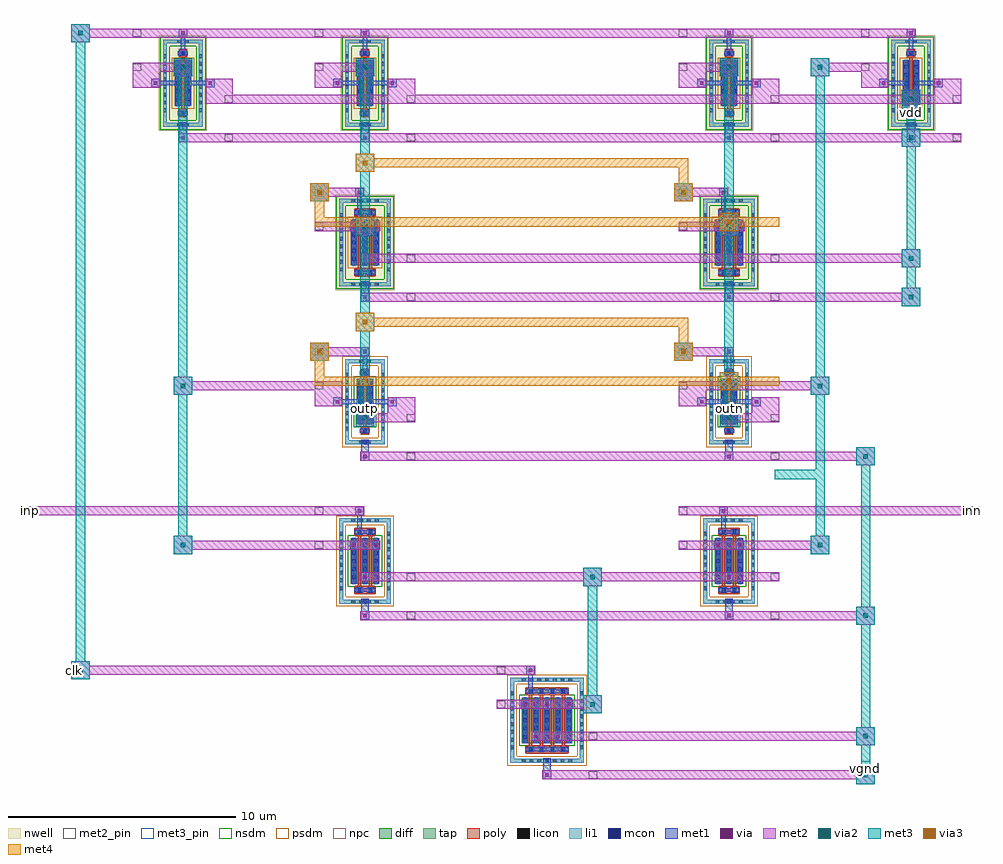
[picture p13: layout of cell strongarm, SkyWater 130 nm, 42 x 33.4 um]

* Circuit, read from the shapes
.subckt strongarm clk inn inp outn outp vdd vgnd
XM1 dsm_strongarm_ntail4_9/D inp dsm_strongarm_nin2_10/D vgnd sky130_fd_pr__nfet_01v8 w=2 l=0.15 m=2
XM2 outp outn dsm_strongarm_nin2_10/D vgnd sky130_fd_pr__nfet_01v8 w=2 l=0.15
XM3 vgnd clk dsm_strongarm_ntail4_9/D vgnd sky130_fd_pr__nfet_01v8 w=2 l=0.15 m=4
XM4 dsm_strongarm_ntail4_9/D inn dsm_strongarm_nin2_8/D vgnd sky130_fd_pr__nfet_01v8 w=2 l=0.15 m=2
XM5 outn outp dsm_strongarm_nin2_8/D vgnd sky130_fd_pr__nfet_01v8 w=2 l=0.15
XM6 vdd clk dsm_strongarm_nin2_10/D vdd sky130_fd_pr__pfet_01v8 w=2 l=0.15
XM7 vdd outn outp vdd sky130_fd_pr__pfet_01v8 w=2 l=0.15 m=2
XM8 vdd clk outp vdd sky130_fd_pr__pfet_01v8 w=2 l=0.15
XM9 vdd outp outn vdd sky130_fd_pr__pfet_01v8 w=2 l=0.15 m=2
XM10 vdd clk outn vdd sky130_fd_pr__pfet_01v8 w=2 l=0.15
XM11 vdd clk dsm_strongarm_nin2_8/D vdd sky130_fd_pr__pfet_01v8 w=2 l=0.15
.ends

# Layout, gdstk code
import gdstk
lib = gdstk.Library(unit=1e-6, precision=1e-09)
def R(c, l, rs):  # rectangles x0, y0, x1, y1
    for r in rs: c.add(gdstk.rectangle(r[:2], r[2:], *l))
def A(c, l, x, y, w, h, nx, ny, dx, dy):  # array of equal rectangles
    R(c, l, [(x+i*dx, y+j*dy, x+i*dx+w, y+j*dy+h) for i in range(nx) for j in range(ny)])
nwell = (64, 20)
diff = (65, 20)
tap = (65, 44)
poly = (66, 20)
licon = (66, 44)
li1 = (67, 20)
mcon = (67, 44)
met1 = (68, 20)
via = (68, 44)
met2_pin = (69, 16)
met2 = (69, 20)
via2 = (69, 44)
met3_pin = (70, 16)
met3 = (70, 20)
via3 = (70, 44)
met4 = (71, 20)
nsdm = (93, 44)
psdm = (94, 20)
npc = (95, 20)

dsm_strongarm_ppre1 = lib.new_cell('dsm_strongarm_ppre1')
R(dsm_strongarm_ppre1, nwell, [(-1.055,-2.095,1.055,2.095)])
R(dsm_strongarm_ppre1, diff, [(-0.365,-1,0.365,1)])
R(dsm_strongarm_ppre1, tap, [(-0.875,-1.915,0.875,-1.745), (-0.875,-1.745,-0.705,1.745), (0.705,-1.745,0.875,1.745), (-0.875,1.745,0.875,1.915)])
R(dsm_strongarm_ppre1, poly, [(-0.165,-1.485,0.165,-1.155), (-0.075,-1.155,0.075,1.155), (-0.165,1.155,0.165,1.485)])
A(dsm_strongarm_ppre1, licon, -0.875, -1.275, 0.17, 0.17, 1, 8, 0, 0.34)
A(dsm_strongarm_ppre1, licon, 0.705, -1.275, 0.17, 0.17, 1, 8, 0, 0.34)
A(dsm_strongarm_ppre1, licon, -0.305, -0.935, 0.17, 0.17, 1, 6, 0, 0.34)
A(dsm_strongarm_ppre1, licon, 0.135, -0.935, 0.17, 0.17, 1, 6, 0, 0.34)
R(dsm_strongarm_ppre1, licon, [(-0.255,-1.915,-0.085,-1.745), (0.085,-1.915,0.255,-1.745), (-0.085,-1.405,0.085,-1.235), (-0.085,1.235,0.085,1.405), (-0.255,1.745,-0.085,1.915), (0.085,1.745,0.255,1.915)])
R(dsm_strongarm_ppre1, li1, [(-0.875,-1.915,0.875,-1.745), (-0.875,-1.745,-0.705,1.745), (0.705,-1.745,0.875,1.745), (-0.22,-1.405,0.22,-1.235), (-0.305,-1.02,-0.135,1.02), (0.135,-1.02,0.305,1.02), (-0.22,1.235,0.22,1.405), (-0.875,1.745,0.875,1.915)])
A(dsm_strongarm_ppre1, mcon, -0.305, -0.805, 0.17, 0.17, 1, 5, 0, 0.36)
A(dsm_strongarm_ppre1, mcon, 0.135, -0.805, 0.17, 0.17, 1, 5, 0, 0.36)
R(dsm_strongarm_ppre1, mcon, [(-0.085,-1.915,0.085,-1.745), (-0.085,-1.405,0.085,-1.235), (-0.085,1.235,0.085,1.405)])
R(dsm_strongarm_ppre1, met1, [(-0.19,-2.59,0.19,-2.21), (-0.16,-2.21,0.16,-1.71), (-0.145,-1.435,0.145,-1.405), (-0.22,-1.405,0.22,-1.235), (-0.145,-1.235,0.145,-1.205), (-0.335,-1,-0.105,-0.1), (0.105,-1,0.335,-0.1), (-1.39,-0.19,-1.01,-0.1), (1.01,-0.19,1.39,-0.1), (-1.39,-0.1,-0.105,0.1), (0.105,-0.1,1.39,0.1), (-1.39,0.1,-1.01,0.19), (-0.335,0.1,-0.105,1), (0.105,0.1,0.335,1), (1.01,0.1,1.39,0.19), (-0.145,1.205,0.145,1.235), (-0.22,1.235,0.22,1.405), (-0.145,1.405,0.145,1.435), (-0.1,1.435,0.1,2.01), (-0.19,2.01,0.19,2.39)])
R(dsm_strongarm_ppre1, via, [(-0.075,-2.475,0.075,-2.325), (-1.275,-0.075,-1.125,0.075), (1.125,-0.075,1.275,0.075), (-0.075,2.125,0.075,2.275)])
R(dsm_strongarm_ppre1, met2_pin, [(1.84,-2.56,2.2,-2.24), (1.84,-0.86,2.2,-0.54), (-2.2,0.54,-1.84,0.86), (-2.2,2.04,-1.84,2.36)])
R(dsm_strongarm_ppre1, met2, [(-0.2,-2.6,2.2,-2.2), (1,-0.9,2.2,0.2), (-2.2,-0.2,-1,0.9), (-2.2,2,0.2,2.4)])
R(dsm_strongarm_ppre1, nsdm, [(-1,-2.04,1,-1.62), (-1,-1.62,-0.58,1.62), (0.58,-1.62,1,1.62), (-1,1.62,1,2.04)])
R(dsm_strongarm_ppre1, psdm, [(-0.49,-1.125,0.49,1.125)])
R(dsm_strongarm_ppre1, npc, [(-0.185,-1.505,0.185,-1.135), (-0.185,1.135,0.185,1.505)])
dsm_strongarm_ppre1.add(gdstk.Label('G', (0,1.32), layer=67, texttype=5))
dsm_strongarm_ppre1.add(gdstk.Label('S', (0.22,0), layer=67, texttype=5))
dsm_strongarm_ppre1.add(gdstk.Label('D', (-0.22,0), layer=67, texttype=5))
dsm_strongarm_ppre1.add(gdstk.Label('B', (0,-1.83), layer=67, texttype=5))
dsm_strongarm_ppre1.add(gdstk.Label('B', (2.02,-2.4), layer=69, texttype=5))
dsm_strongarm_ppre1.add(gdstk.Label('G', (-2.02,2.2), layer=69, texttype=5))
dsm_strongarm_ppre1.add(gdstk.Label('S', (2.02,-0.7), layer=69, texttype=5))
dsm_strongarm_ppre1.add(gdstk.Label('D', (-2.02,0.7), layer=69, texttype=5))

dsm_strongarm_pin2 = lib.new_cell('dsm_strongarm_pin2')
R(dsm_strongarm_pin2, nwell, [(-1.315,-2.095,1.315,2.095)])
R(dsm_strongarm_pin2, diff, [(-0.625,-1,0.625,1)])
R(dsm_strongarm_pin2, tap, [(-1.135,-1.915,1.135,-1.745), (-1.135,-1.745,-0.965,1.745), (0.965,-1.745,1.135,1.745), (-1.135,1.745,1.135,1.915)])
R(dsm_strongarm_pin2, poly, [(-0.48,-1.485,0.48,-1.155), (-0.315,-1.155,-0.165,1.155), (0.165,-1.155,0.315,1.155), (-0.48,1.155,0.48,1.485)])
A(dsm_strongarm_pin2, licon, -0.595, -1.915, 0.17, 0.17, 4, 2, 0.34, 3.66)
A(dsm_strongarm_pin2, licon, -1.135, -1.275, 0.17, 0.17, 1, 8, 0, 0.34)
A(dsm_strongarm_pin2, licon, 0.965, -1.275, 0.17, 0.17, 1, 8, 0, 0.34)
A(dsm_strongarm_pin2, licon, -0.565, -0.935, 0.17, 0.17, 3, 6, 0.48, 0.34)
R(dsm_strongarm_pin2, licon, [(-0.325,-1.405,-0.155,-1.235), (0.155,-1.405,0.325,-1.235), (-0.325,1.235,-0.155,1.405), (0.155,1.235,0.325,1.405)])
A(dsm_strongarm_pin2, li1, -0.565, -1.02, 0.17, 2.04, 3, 1, 0.48, 0)
R(dsm_strongarm_pin2, li1, [(-1.135,-1.915,1.135,-1.745), (-1.135,-1.745,-0.965,1.745), (0.965,-1.745,1.135,1.745), (-0.48,-1.405,0.48,-1.235), (-0.48,1.235,0.48,1.405), (-1.135,1.745,1.135,1.915)])
A(dsm_strongarm_pin2, mcon, -0.565, -0.805, 0.17, 0.17, 3, 5, 0.48, 0.36)
R(dsm_strongarm_pin2, mcon, [(-0.085,-1.915,0.085,-1.745), (-0.325,-1.405,-0.155,-1.235), (0.155,-1.405,0.325,-1.235), (-0.325,1.235,-0.155,1.405), (0.155,1.235,0.325,1.405)])
R(dsm_strongarm_pin2, met1, [(-0.19,-2.59,0.19,-2.21), (-0.16,-2.21,0.16,-1.71), (-0.385,-1.435,-0.095,-1.405), (0.095,-1.435,0.385,-1.405), (-0.48,-1.405,0.48,-1.235), (-0.385,-1.235,-0.095,-1.205), (0.095,-1.235,0.385,-1.205), (-0.595,-1,-0.365,0.51), (-0.115,-1,0.115,-0.89), (0.365,-1,0.595,0.51), (-0.19,-0.89,0.19,-0.51), (-0.115,-0.51,0.115,1), (-0.67,0.51,-0.29,0.89), (0.29,0.51,0.67,0.89), (-0.595,0.89,-0.365,1), (0.365,0.89,0.595,1), (-0.385,1.205,-0.095,1.235), (0.095,1.205,0.385,1.235), (-0.48,1.235,0.48,1.405), (-0.385,1.405,-0.095,1.435), (0.095,1.405,0.385,1.435), (-0.34,1.435,-0.14,2.01), (-0.43,2.01,-0.05,2.39)])
R(dsm_strongarm_pin2, via, [(-0.075,-2.475,0.075,-2.325), (-0.075,-0.775,0.075,-0.625), (-0.555,0.625,-0.405,0.775), (0.405,0.625,0.555,0.775), (-0.315,2.125,-0.165,2.275)])
R(dsm_strongarm_pin2, met2_pin, [(1.84,-2.56,2.2,-2.24), (1.84,-0.86,2.2,-0.54), (-2.2,0.54,-1.84,0.86), (-2.2,2.04,-1.84,2.36)])
R(dsm_strongarm_pin2, met2, [(-0.2,-2.6,2.2,-2.2), (-0.2,-0.9,2.2,-0.5), (-2.2,0.5,0.68,0.9), (-2.2,2,-0.04,2.4)])
R(dsm_strongarm_pin2, nsdm, [(-1.26,-2.04,1.26,-1.62), (-1.26,-1.62,-0.84,1.62), (0.84,-1.62,1.26,1.62), (-1.26,1.62,1.26,2.04)])
R(dsm_strongarm_pin2, psdm, [(-0.75,-1.125,0.75,1.125)])
R(dsm_strongarm_pin2, npc, [(-0.425,-1.505,0.425,-1.135), (-0.425,1.135,0.425,1.505)])
dsm_strongarm_pin2.add(gdstk.Label('S1', (0,0), layer=67, texttype=5))
dsm_strongarm_pin2.add(gdstk.Label('G', (-0.24,1.32), layer=67, texttype=5))
dsm_strongarm_pin2.add(gdstk.Label('G', (0.24,1.32), layer=67, texttype=5))
dsm_strongarm_pin2.add(gdstk.Label('D0', (-0.48,0), layer=67, texttype=5))
dsm_strongarm_pin2.add(gdstk.Label('B', (0,-1.83), layer=67, texttype=5))
dsm_strongarm_pin2.add(gdstk.Label('B', (2.02,-2.4), layer=69, texttype=5))
dsm_strongarm_pin2.add(gdstk.Label('G', (-2.02,2.2), layer=69, texttype=5))
dsm_strongarm_pin2.add(gdstk.Label('S', (2.02,-0.7), layer=69, texttype=5))
dsm_strongarm_pin2.add(gdstk.Label('D', (-2.02,0.7), layer=69, texttype=5))

dsm_strongarm_nlat1 = lib.new_cell('dsm_strongarm_nlat1')
R(dsm_strongarm_nlat1, diff, [(-0.365,-1,0.365,1)])
R(dsm_strongarm_nlat1, tap, [(-0.875,-1.87,0.875,-1.7), (-0.875,-1.7,-0.705,1.7), (0.705,-1.7,0.875,1.7), (-0.875,1.7,0.875,1.87)])
R(dsm_strongarm_nlat1, poly, [(-0.165,-1.44,0.165,-1.11), (-0.075,-1.11,0.075,1.11), (-0.165,1.11,0.165,1.44)])
A(dsm_strongarm_nlat1, licon, -0.875, -1.275, 0.17, 0.17, 1, 8, 0, 0.34)
A(dsm_strongarm_nlat1, licon, 0.705, -1.275, 0.17, 0.17, 1, 8, 0, 0.34)
A(dsm_strongarm_nlat1, licon, -0.305, -0.935, 0.17, 0.17, 1, 6, 0, 0.34)
A(dsm_strongarm_nlat1, licon, 0.135, -0.935, 0.17, 0.17, 1, 6, 0, 0.34)
R(dsm_strongarm_nlat1, licon, [(-0.255,-1.87,-0.085,-1.7), (0.085,-1.87,0.255,-1.7), (-0.085,-1.36,0.085,-1.19), (-0.085,1.19,0.085,1.36), (-0.255,1.7,-0.085,1.87), (0.085,1.7,0.255,1.87)])
R(dsm_strongarm_nlat1, li1, [(-0.875,-1.87,0.875,-1.7), (-0.875,-1.7,-0.705,1.7), (0.705,-1.7,0.875,1.7), (-0.22,-1.36,0.22,-1.19), (-0.305,-1.02,-0.135,1.02), (0.135,-1.02,0.305,1.02), (-0.22,1.19,0.22,1.36), (-0.875,1.7,0.875,1.87)])
A(dsm_strongarm_nlat1, mcon, -0.305, -0.805, 0.17, 0.17, 1, 5, 0, 0.36)
A(dsm_strongarm_nlat1, mcon, 0.135, -0.805, 0.17, 0.17, 1, 5, 0, 0.36)
R(dsm_strongarm_nlat1, mcon, [(-0.085,-1.87,0.085,-1.7), (-0.085,-1.36,0.085,-1.19), (-0.085,1.19,0.085,1.36)])
R(dsm_strongarm_nlat1, met1, [(-0.19,-2.59,0.19,-2.21), (-0.16,-2.21,0.16,-1.665), (-0.145,-1.39,0.145,-1.36), (-0.22,-1.36,0.22,-1.19), (-0.145,-1.19,0.145,-1.16), (-0.335,-1,-0.105,-0.1), (0.105,-1,0.335,-0.1), (-1.39,-0.19,-1.01,-0.1), (1.01,-0.19,1.39,-0.1), (-1.39,-0.1,-0.105,0.1), (0.105,-0.1,1.39,0.1), (-1.39,0.1,-1.01,0.19), (-0.335,0.1,-0.105,1), (0.105,0.1,0.335,1), (1.01,0.1,1.39,0.19), (-0.145,1.16,0.145,1.19), (-0.22,1.19,0.22,1.36), (-0.145,1.36,0.145,1.39), (-0.1,1.39,0.1,2.01), (-0.19,2.01,0.19,2.39)])
R(dsm_strongarm_nlat1, via, [(-0.075,-2.475,0.075,-2.325), (-1.275,-0.075,-1.125,0.075), (1.125,-0.075,1.275,0.075), (-0.075,2.125,0.075,2.275)])
R(dsm_strongarm_nlat1, met2_pin, [(1.84,-2.56,2.2,-2.24), (1.84,-0.86,2.2,-0.54), (-2.2,0.54,-1.84,0.86), (-2.2,2.04,-1.84,2.36)])
R(dsm_strongarm_nlat1, met2, [(-0.2,-2.6,2.2,-2.2), (1,-0.9,2.2,0.2), (-2.2,-0.2,-1,0.9), (-2.2,2,0.2,2.4)])
R(dsm_strongarm_nlat1, nsdm, [(-0.49,-1.125,0.49,1.125)])
R(dsm_strongarm_nlat1, psdm, [(-1,-1.995,1,-1.575), (-1,-1.575,-0.58,1.575), (0.58,-1.575,1,1.575), (-1,1.575,1,1.995)])
R(dsm_strongarm_nlat1, npc, [(-0.185,-1.46,0.185,-1.09), (-0.185,1.09,0.185,1.46)])
dsm_strongarm_nlat1.add(gdstk.Label('G', (0,1.275), layer=67, texttype=5))
dsm_strongarm_nlat1.add(gdstk.Label('S', (0.22,0), layer=67, texttype=5))
dsm_strongarm_nlat1.add(gdstk.Label('D', (-0.22,0), layer=67, texttype=5))
dsm_strongarm_nlat1.add(gdstk.Label('B', (0,-1.785), layer=67, texttype=5))
dsm_strongarm_nlat1.add(gdstk.Label('B', (2.02,-2.4), layer=69, texttype=5))
dsm_strongarm_nlat1.add(gdstk.Label('G', (-2.02,2.2), layer=69, texttype=5))
dsm_strongarm_nlat1.add(gdstk.Label('S', (2.02,-0.7), layer=69, texttype=5))
dsm_strongarm_nlat1.add(gdstk.Label('D', (-2.02,0.7), layer=69, texttype=5))

dsm_strongarm_nin2 = lib.new_cell('dsm_strongarm_nin2')
R(dsm_strongarm_nin2, diff, [(-0.625,-1,0.625,1)])
R(dsm_strongarm_nin2, tap, [(-1.135,-1.87,1.135,-1.7), (-1.135,-1.7,-0.965,1.7), (0.965,-1.7,1.135,1.7), (-1.135,1.7,1.135,1.87)])
R(dsm_strongarm_nin2, poly, [(-0.48,-1.44,0.48,-1.11), (-0.315,-1.11,-0.165,1.11), (0.165,-1.11,0.315,1.11), (-0.48,1.11,0.48,1.44)])
A(dsm_strongarm_nin2, licon, -0.595, -1.87, 0.17, 0.17, 4, 2, 0.34, 3.57)
A(dsm_strongarm_nin2, licon, -1.135, -1.275, 0.17, 0.17, 1, 8, 0, 0.34)
A(dsm_strongarm_nin2, licon, 0.965, -1.275, 0.17, 0.17, 1, 8, 0, 0.34)
A(dsm_strongarm_nin2, licon, -0.565, -0.935, 0.17, 0.17, 3, 6, 0.48, 0.34)
R(dsm_strongarm_nin2, licon, [(-0.325,-1.36,-0.155,-1.19), (0.155,-1.36,0.325,-1.19), (-0.325,1.19,-0.155,1.36), (0.155,1.19,0.325,1.36)])
A(dsm_strongarm_nin2, li1, -0.565, -1.02, 0.17, 2.04, 3, 1, 0.48, 0)
R(dsm_strongarm_nin2, li1, [(-1.135,-1.87,1.135,-1.7), (-1.135,-1.7,-0.965,1.7), (0.965,-1.7,1.135,1.7), (-0.48,-1.36,0.48,-1.19), (-0.48,1.19,0.48,1.36), (-1.135,1.7,1.135,1.87)])
A(dsm_strongarm_nin2, mcon, -0.565, -0.805, 0.17, 0.17, 3, 5, 0.48, 0.36)
R(dsm_strongarm_nin2, mcon, [(-0.085,-1.87,0.085,-1.7), (-0.325,-1.36,-0.155,-1.19), (0.155,-1.36,0.325,-1.19), (-0.325,1.19,-0.155,1.36), (0.155,1.19,0.325,1.36)])
R(dsm_strongarm_nin2, met1, [(-0.19,-2.59,0.19,-2.21), (-0.16,-2.21,0.16,-1.665), (-0.385,-1.39,-0.095,-1.36), (0.095,-1.39,0.385,-1.36), (-0.48,-1.36,0.48,-1.19), (-0.385,-1.19,-0.095,-1.16), (0.095,-1.19,0.385,-1.16), (-0.595,-1,-0.365,0.51), (-0.115,-1,0.115,-0.89), (0.365,-1,0.595,0.51), (-0.19,-0.89,0.19,-0.51), (-0.115,-0.51,0.115,1), (-0.67,0.51,-0.29,0.89), (0.29,0.51,0.67,0.89), (-0.595,0.89,-0.365,1), (0.365,0.89,0.595,1), (-0.385,1.16,-0.095,1.19), (0.095,1.16,0.385,1.19), (-0.48,1.19,0.48,1.36), (-0.385,1.36,-0.095,1.39), (0.095,1.36,0.385,1.39), (-0.34,1.39,-0.14,2.01), (-0.43,2.01,-0.05,2.39)])
R(dsm_strongarm_nin2, via, [(-0.075,-2.475,0.075,-2.325), (-0.075,-0.775,0.075,-0.625), (-0.555,0.625,-0.405,0.775), (0.405,0.625,0.555,0.775), (-0.315,2.125,-0.165,2.275)])
R(dsm_strongarm_nin2, met2_pin, [(1.84,-2.56,2.2,-2.24), (1.84,-0.86,2.2,-0.54), (-2.2,0.54,-1.84,0.86), (-2.2,2.04,-1.84,2.36)])
R(dsm_strongarm_nin2, met2, [(-0.2,-2.6,2.2,-2.2), (-0.2,-0.9,2.2,-0.5), (-2.2,0.5,0.68,0.9), (-2.2,2,-0.04,2.4)])
R(dsm_strongarm_nin2, nsdm, [(-0.75,-1.125,0.75,1.125)])
R(dsm_strongarm_nin2, psdm, [(-1.26,-1.995,1.26,-1.575), (-1.26,-1.575,-0.84,1.575), (0.84,-1.575,1.26,1.575), (-1.26,1.575,1.26,1.995)])
R(dsm_strongarm_nin2, npc, [(-0.425,-1.46,0.425,-1.09), (-0.425,1.09,0.425,1.46)])
dsm_strongarm_nin2.add(gdstk.Label('S1', (0,0), layer=67, texttype=5))
dsm_strongarm_nin2.add(gdstk.Label('G', (-0.24,1.275), layer=67, texttype=5))
dsm_strongarm_nin2.add(gdstk.Label('G', (0.24,1.275), layer=67, texttype=5))
dsm_strongarm_nin2.add(gdstk.Label('D0', (-0.48,0), layer=67, texttype=5))
dsm_strongarm_nin2.add(gdstk.Label('B', (0,-1.785), layer=67, texttype=5))
dsm_strongarm_nin2.add(gdstk.Label('B', (2.02,-2.4), layer=69, texttype=5))
dsm_strongarm_nin2.add(gdstk.Label('G', (-2.02,2.2), layer=69, texttype=5))
dsm_strongarm_nin2.add(gdstk.Label('S', (2.02,-0.7), layer=69, texttype=5))
dsm_strongarm_nin2.add(gdstk.Label('D', (-2.02,0.7), layer=69, texttype=5))

dsm_strongarm_ntail4 = lib.new_cell('dsm_strongarm_ntail4')
R(dsm_strongarm_ntail4, diff, [(-1.105,-1,1.105,1)])
R(dsm_strongarm_ntail4, tap, [(-1.615,-1.87,1.615,-1.7), (-1.615,-1.7,-1.445,1.7), (1.445,-1.7,1.615,1.7), (-1.615,1.7,1.615,1.87)])
A(dsm_strongarm_ntail4, poly, -0.795, -1.11, 0.15, 2.22, 4, 1, 0.48, 0)
R(dsm_strongarm_ntail4, poly, [(-0.96,-1.44,0.96,-1.11), (-0.96,1.11,0.96,1.44)])
A(dsm_strongarm_ntail4, licon, -1.105, -1.87, 0.17, 0.17, 7, 2, 0.34, 3.57)
A(dsm_strongarm_ntail4, licon, -0.805, -1.36, 0.17, 0.17, 4, 2, 0.48, 2.55)
A(dsm_strongarm_ntail4, licon, -1.615, -1.275, 0.17, 0.17, 1, 8, 0, 0.34)
A(dsm_strongarm_ntail4, licon, 1.445, -1.275, 0.17, 0.17, 1, 8, 0, 0.34)
A(dsm_strongarm_ntail4, licon, -1.045, -0.935, 0.17, 0.17, 5, 6, 0.48, 0.34)
A(dsm_strongarm_ntail4, li1, -1.045, -1.02, 0.17, 2.04, 5, 1, 0.48, 0)
R(dsm_strongarm_ntail4, li1, [(-1.615,-1.87,1.615,-1.7), (-1.615,-1.7,-1.445,1.7), (1.445,-1.7,1.615,1.7), (-0.96,-1.36,0.96,-1.19), (-0.96,1.19,0.96,1.36), (-1.615,1.7,1.615,1.87)])
A(dsm_strongarm_ntail4, mcon, -0.805, -1.36, 0.17, 0.17, 4, 2, 0.48, 2.55)
A(dsm_strongarm_ntail4, mcon, -1.045, -0.805, 0.17, 0.17, 5, 5, 0.48, 0.36)
R(dsm_strongarm_ntail4, mcon, [(-0.085,-1.87,0.085,-1.7)])
A(dsm_strongarm_ntail4, met1, -0.865, -1.39, 0.29, 0.03, 4, 2, 0.48, 0.2)
A(dsm_strongarm_ntail4, met1, -1.075, -1, 0.23, 1.51, 3, 1, 0.96, 0)
A(dsm_strongarm_ntail4, met1, -1.15, 0.51, 0.38, 0.38, 3, 1, 0.96, 0)
A(dsm_strongarm_ntail4, met1, -1.075, 0.89, 0.23, 0.11, 3, 1, 0.96, 0)
A(dsm_strongarm_ntail4, met1, -0.865, 1.16, 0.29, 0.03, 4, 2, 0.48, 0.2)
R(dsm_strongarm_ntail4, met1, [(-0.19,-2.59,0.19,-2.21), (-0.16,-2.21,0.16,-1.665), (-0.96,-1.36,0.96,-1.19), (-0.595,-1,-0.365,-0.89), (0.365,-1,0.595,-0.89), (-0.67,-0.89,-0.29,-0.51), (0.29,-0.89,0.67,-0.51), (-0.595,-0.51,-0.365,1), (0.365,-0.51,0.595,1), (-0.96,1.19,0.96,1.36), (-0.82,1.39,-0.62,2.01), (-0.91,2.01,-0.53,2.39)])
A(dsm_strongarm_ntail4, via, -1.035, 0.625, 0.15, 0.15, 3, 1, 0.96, 0)
R(dsm_strongarm_ntail4, via, [(-0.075,-2.475,0.075,-2.325), (-0.555,-0.775,-0.405,-0.625), (0.405,-0.775,0.555,-0.625), (-0.795,2.125,-0.645,2.275)])
R(dsm_strongarm_ntail4, met2_pin, [(1.84,-2.56,2.2,-2.24), (1.84,-0.86,2.2,-0.54), (-2.2,0.54,-1.84,0.86), (-2.2,2.04,-1.84,2.36)])
R(dsm_strongarm_ntail4, met2, [(-0.2,-2.6,2.2,-2.2), (-0.68,-0.9,2.2,-0.5), (-2.2,0.5,1.16,0.9), (-2.2,2,-0.52,2.4)])
R(dsm_strongarm_ntail4, nsdm, [(-1.23,-1.125,1.23,1.125)])
R(dsm_strongarm_ntail4, psdm, [(-1.74,-1.995,1.74,-1.575), (-1.74,-1.575,-1.32,1.575), (1.32,-1.575,1.74,1.575), (-1.74,1.575,1.74,1.995)])
R(dsm_strongarm_ntail4, npc, [(-0.905,-1.46,0.905,-1.09), (-0.905,1.09,0.905,1.46)])
dsm_strongarm_ntail4.add(gdstk.Label('S3', (0.48,0), layer=67, texttype=5))
dsm_strongarm_ntail4.add(gdstk.Label('D2', (0,0), layer=67, texttype=5))
dsm_strongarm_ntail4.add(gdstk.Label('S1', (-0.48,0), layer=67, texttype=5))
dsm_strongarm_ntail4.add(gdstk.Label('G', (-0.72,1.275), layer=67, texttype=5))
dsm_strongarm_ntail4.add(gdstk.Label('G', (-0.24,1.275), layer=67, texttype=5))
dsm_strongarm_ntail4.add(gdstk.Label('G', (0.24,1.275), layer=67, texttype=5))
dsm_strongarm_ntail4.add(gdstk.Label('G', (0.72,1.275), layer=67, texttype=5))
dsm_strongarm_ntail4.add(gdstk.Label('D0', (-0.96,0), layer=67, texttype=5))
dsm_strongarm_ntail4.add(gdstk.Label('B', (0,-1.785), layer=67, texttype=5))
dsm_strongarm_ntail4.add(gdstk.Label('B', (2.02,-2.4), layer=69, texttype=5))
dsm_strongarm_ntail4.add(gdstk.Label('G', (-2.02,2.2), layer=69, texttype=5))
dsm_strongarm_ntail4.add(gdstk.Label('S', (2.02,-0.7), layer=69, texttype=5))
dsm_strongarm_ntail4.add(gdstk.Label('D', (-2.02,0.7), layer=69, texttype=5))

strongarm = lib.new_cell('strongarm')
R(strongarm, met2_pin, [(2.1,7.54,2.36,7.86), (0,14.54,0.6,14.86), (41.4,14.54,42,14.86)])
R(strongarm, met2, [(36.6,2.7,37.4,2.9), (25,2.9,37.4,3.3), (36.6,3.3,37.4,3.5), (36.6,4.4,37.4,4.6), (25,4.6,37.4,5), (36.6,5,37.4,5.2), (24.6,5.8,25.4,6), (21,6,25.4,6.4), (24.6,6.4,25.4,6.6), (2.1,7.3,2.9,7.5), (2.1,7.5,21,7.9), (2.1,7.9,2.9,8.1), (36.6,9.7,37.4,9.9), (17,9.9,37.4,10.3), (36.6,10.3,37.4,10.5), (24.6,11.4,25.4,11.6), (17,11.6,33,12), (24.6,12,25.4,12.2), (6.6,12.8,7.4,13), (34.6,12.8,35.4,13), (6.6,13,13,13.4), (29,13,35.4,13.4), (6.6,13.4,7.4,13.6), (34.6,13.4,35.4,13.6), (0,14.5,13,14.9), (29,14.5,42,14.9), (36.6,16.7,37.4,16.9), (17,16.9,37.4,17.3), (36.6,17.3,37.4,17.5), (14.6,18.4,15.4,18.6), (30.6,18.4,31.4,18.6), (14.6,18.6,17,19), (30.6,18.6,33,19), (14.6,19,15.4,19.2), (30.6,19,31.4,19.2), (6.6,19.8,7.4,20), (34.6,19.8,35.4,20), (6.6,20,13,20.4), (29,20,35.4,20.4), (6.6,20.4,7.4,20.6), (34.6,20.4,35.4,20.6), (12.6,21.3,13.4,22.1), (28.6,21.3,29.4,22.1), (38.6,23.7,39.4,23.9), (17,23.9,39.4,24.3), (38.6,24.3,39.4,24.5), (38.6,25.4,39.4,25.6), (17,25.6,39.4,26), (38.6,26,39.4,26.2), (14.6,26.8,15.4,27), (30.6,26.8,31.4,27), (13,27,15.4,27.4), (29,27,31.4,27.4), (14.6,27.4,15.4,27.6), (30.6,27.4,31.4,27.6), (12.6,28.3,13.4,29.1), (28.6,28.3,29.4,29.1), (38.6,30.7,39.4,30.9), (9,30.9,41,31.3), (38.6,31.3,39.4,31.5), (38.6,32.4,39.4,32.6), (9,32.6,41,33), (38.6,33,39.4,33.2), (6.6,33.8,7.4,34), (14.6,33.8,15.4,34), (30.6,33.8,31.4,34), (34.6,33.8,35.4,34), (5,34,7.4,34.4), (13,34,15.4,34.4), (29,34,31.4,34.4), (34.6,34,37,34.4), (6.6,34.4,7.4,34.6), (14.6,34.4,15.4,34.6), (30.6,34.4,31.4,34.6), (34.6,34.4,35.4,34.6), (2.1,35.3,2.9,35.5), (2.1,35.5,37.2,35.9), (2.1,35.9,2.9,36.1)])
R(strongarm, via2, [(36.9,3,37.1,3.2), (36.9,4.7,37.1,4.9), (24.9,6.1,25.1,6.3), (2.4,7.6,2.6,7.8), (36.9,10,37.1,10.2), (24.9,11.7,25.1,11.9), (6.9,13.1,7.1,13.3), (34.9,13.1,35.1,13.3), (36.9,17,37.1,17.2), (14.9,18.7,15.1,18.9), (30.9,18.7,31.1,18.9), (6.9,20.1,7.1,20.3), (34.9,20.1,35.1,20.3), (12.9,21.6,13.1,21.8), (28.9,21.6,29.1,21.8), (38.9,24,39.1,24.2), (38.9,25.7,39.1,25.9), (14.9,27.1,15.1,27.3), (30.9,27.1,31.1,27.3), (12.9,28.6,13.1,28.8), (28.9,28.6,29.1,28.8), (38.9,31,39.1,31.2), (38.9,32.7,39.1,32.9), (6.9,34.1,7.1,34.3), (14.9,34.1,15.1,34.3), (30.9,34.1,31.1,34.3), (34.9,34.1,35.1,34.3), (2.4,35.6,2.6,35.8)])
R(strongarm, met3_pin, [(36.8,3.1,37.2,3.7), (14.8,18.9,15.2,19.5), (30.8,18.9,31.2,19.5), (38.8,31.9,39.2,32.5)])
A(strongarm, met3, 14.6, 18.4, 0.8, 0.8, 1, 3, 0, 4.2)
R(strongarm, met3, [(36.6,2.7,37.4,3.5), (36.8,3.5,37.2,4.4), (36.6,4.4,37.4,5.2), (36.8,5.2,37.2,9.7), (24.6,5.8,25.4,6.6), (24.8,6.6,25.2,11.4), (2.1,7.3,2.9,8.1), (2.3,8.1,2.7,35.3), (36.6,9.7,37.4,10.5), (36.8,10.5,37.2,16.7), (24.6,11.4,25.4,12.2), (6.6,12.8,7.4,13.6), (34.6,12.8,35.4,13.6), (6.8,13.6,7.2,19.8), (34.8,13.6,35.2,16.1), (33,16.1,35.2,16.5), (34.8,16.5,35.2,19.8), (36.6,16.7,37.4,17.5), (30.6,18.4,31.4,19.2), (14.8,19.2,15.2,22.6), (30.8,19.2,31.2,20), (6.6,19.8,7.4,20.6), (34.6,19.8,35.4,20.6), (30.6,20,31.4,20.8), (6.8,20.6,7.2,33.8), (34.8,20.6,35.2,33.8), (30.8,20.8,31.2,26.8), (12.6,21.3,13.4,22.1), (28.6,21.3,29.4,22.1), (14.8,23.4,15.2,26.8), (38.6,23.7,39.4,24.5), (38.8,24.5,39.2,25.4), (38.6,25.4,39.4,26.2), (38.8,26.2,39.2,30.7), (30.6,26.8,31.4,27.8), (14.8,27.6,15.2,29.6), (30.8,27.8,31.2,33.8), (12.6,28.3,13.4,29.1), (28.6,28.3,29.4,29.1), (14.6,29.6,15.4,30.4), (14.8,30.4,15.2,33.8), (38.6,30.7,39.4,31.5), (38.8,31.5,39.2,32.4), (38.6,32.4,39.4,33.2), (6.6,33.8,7.4,34.6), (14.6,33.8,15.4,34.6), (30.6,33.8,31.4,34.6), (34.6,33.8,35.4,34.6), (2.1,35.3,2.9,36.1)])
R(strongarm, via3, [(30.9,20.3,31.1,20.5), (12.9,21.6,13.1,21.8), (28.9,21.6,29.1,21.8), (14.9,22.9,15.1,23.1), (30.9,27.3,31.1,27.5), (12.9,28.6,13.1,28.8), (28.9,28.6,29.1,28.8), (14.9,29.9,15.1,30.1)])
R(strongarm, met4, [(30.6,20,31.4,20.2), (12.8,20.2,33.2,20.6), (12.8,20.6,13.2,21.3), (30.6,20.6,31.4,20.8), (12.6,21.3,13.4,22.1), (28.6,21.3,29.4,22.1), (28.8,22.1,29.2,22.8), (14.6,22.6,15.4,22.8), (14.6,22.8,29.2,23.2), (14.6,23.2,15.4,23.4), (30.6,27,31.4,27.2), (12.8,27.2,33.2,27.6), (12.8,27.6,13.2,28.3), (30.6,27.6,31.4,27.8), (12.6,28.3,13.4,29.1), (28.6,28.3,29.4,29.1), (28.8,29.1,29.2,29.8), (14.6,29.6,15.4,29.8), (14.6,29.8,29.2,30.2), (14.6,30.2,15.4,30.4)])
strongarm.add(gdstk.Reference(dsm_strongarm_ppre1, (31,33.5)))
strongarm.add(gdstk.Reference(dsm_strongarm_pin2, (31,26.5)))
strongarm.add(gdstk.Reference(dsm_strongarm_ppre1, (15,33.5)))
strongarm.add(gdstk.Reference(dsm_strongarm_ppre1, (39,33.5)))
strongarm.add(gdstk.Reference(dsm_strongarm_pin2, (15,26.5)))
strongarm.add(gdstk.Reference(dsm_strongarm_nlat1, (15,19.5)))
strongarm.add(gdstk.Reference(dsm_strongarm_ppre1, (7,33.5)))
strongarm.add(gdstk.Reference(dsm_strongarm_nlat1, (31,19.5)))
strongarm.add(gdstk.Reference(dsm_strongarm_nin2, (31,12.5)))
strongarm.add(gdstk.Reference(dsm_strongarm_ntail4, (23,5.5)))
strongarm.add(gdstk.Reference(dsm_strongarm_nin2, (15,12.5)))
strongarm.add(gdstk.Label('clk', (2.23,7.7), layer=69, texttype=5))
strongarm.add(gdstk.Label('inn', (41.7,14.7), layer=69, texttype=5))
strongarm.add(gdstk.Label('inp', (0.3,14.7), layer=69, texttype=5))
strongarm.add(gdstk.Label('vgnd', (37,3.4), layer=70, texttype=5))
strongarm.add(gdstk.Label('vdd', (39,32.2), layer=70, texttype=5))
strongarm.add(gdstk.Label('outn', (31,19.2), layer=70, texttype=5))
strongarm.add(gdstk.Label('outp', (15,19.2), layer=70, texttype=5))

lib.write_gds('strongarm.gds')
